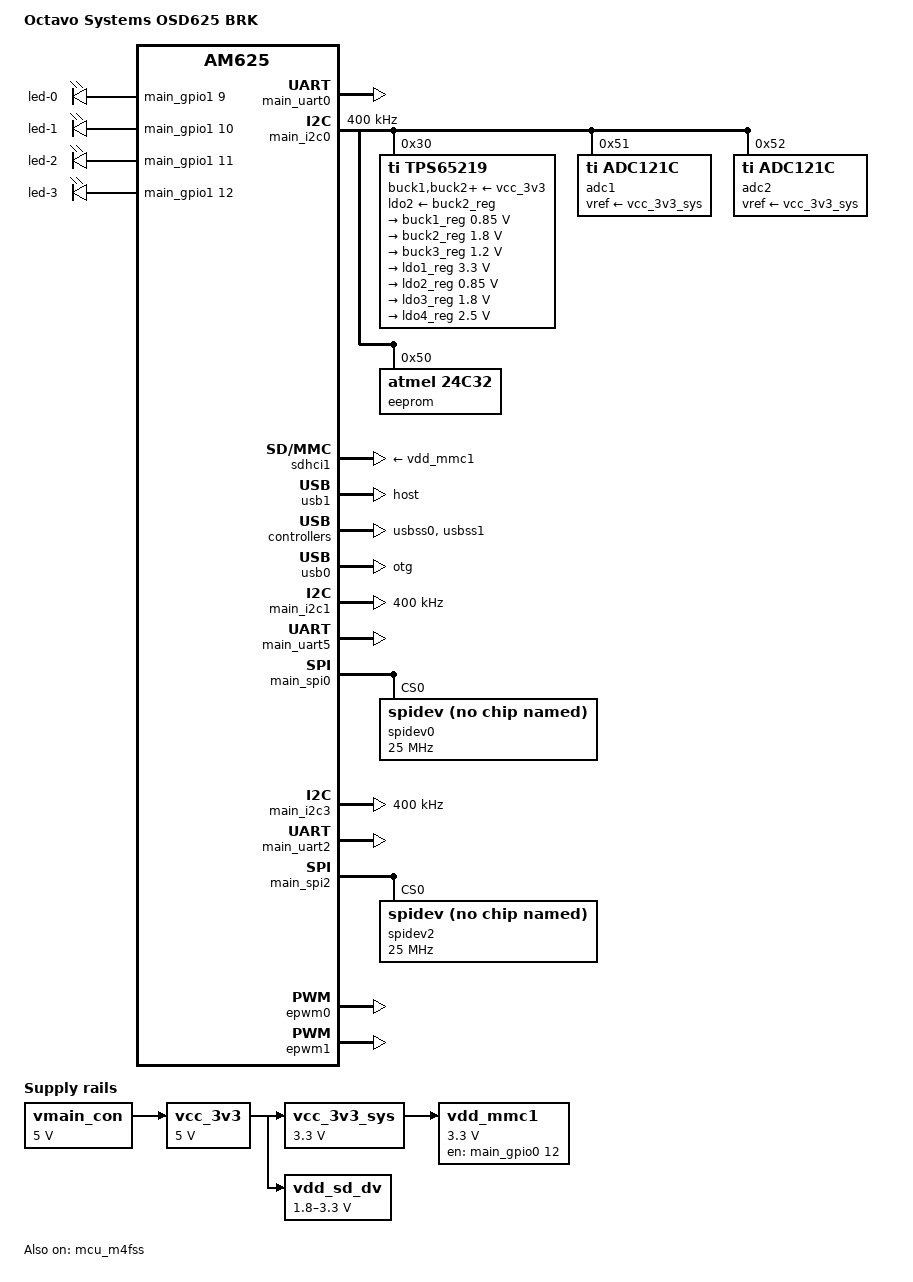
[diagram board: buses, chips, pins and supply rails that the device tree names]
 // SPDX-License-Identifier: GPL-2.0
/*
 * OSD625 BRK: https://octavosystems.com/octavo_products/osd62-pm-brk/
 *
 * Copyright (C) 2025 Octavo Systems - https://www.octavosystems.com/
 */

/dts-v1/;
#include <dt-bindings/leds/common.h>
#include <dt-bindings/gpio/gpio.h>
#include <dt-bindings/input/input.h>
#include "k3-am625.dtsi"
#include "k3-am62x-osd62x-pm-common.dtsi"

/ {
	compatible = "oct,am625-osd625-brk", "ti,am625";
	model = "Octavo Systems OSD625 BRK";

	opp-table {
		/* Add 1.4GHz OPP for OSD625 BRK board. Requires VDD_CORE to be at 0.85V */
		opp-1400000000 {
			opp-hz = /bits/ 64 <1400000000>;
			opp-supported-hw = <0x01 0x0004>;
			clock-latency-ns = <6000000>;
		};
	};

	aliases {
		serial2 = &main_uart0;
		mmc1 = &sdhci1;
		usb0 = &usb0;
		usb1 = &usb1;
		i2c0 = &main_i2c0;
		i2c1 = &main_i2c1;
		i2c3 = &main_i2c3;
		i2c4 = &wkup_i2c0;
	};

	chosen {
		stdout-path = "serial2:115200n8";
	};

	reserved-memory {
		#address-cells = <2>;
		#size-cells = <2>;
		ranges;

		ramoops@9c700000 {
			compatible = "ramoops";
			reg = <0x00 0x9c700000 0x00 0x00100000>;
			record-size = <0x8000>;
			console-size = <0x8000>;
			ftrace-size = <0x00>;
			pmsg-size = <0x8000>;
		};

		rtos_ipc_memory_region: ipc-memories@9c800000 {
			compatible = "shared-dma-pool";
			reg = <0x00 0x9c800000 0x00 0x00300000>;
			no-map;
		};

		mcu_m4fss_dma_memory_region: m4f-dma-memory@9cb00000 {
			compatible = "shared-dma-pool";
			reg = <0x00 0x9cb00000 0x00 0x100000>;
			no-map;
		};

		mcu_m4fss_memory_region: m4f-memory@9cc00000 {
			compatible = "shared-dma-pool";
			reg = <0x00 0x9cc00000 0x00 0xe00000>;
			no-map;
		};

		/* global cma region */
		linux,cma {
			compatible = "shared-dma-pool";
			reusable;
			size = <0x00 0x8000000>;
			linux,cma-default;
		};

		wkup_r5fss0_core0_dma_memory_region: r5f-dma-memory@9da00000 {
			compatible = "shared-dma-pool";
			reg = <0x00 0x9da00000 0x00 0x00100000>;
			no-map;
		};

		wkup_r5fss0_core0_memory_region: r5f-memory@9db00000 {
			compatible = "shared-dma-pool";
			reg = <0x00 0x9db00000 0x00 0x00c00000>;
			no-map;
		};

		secure_tfa_ddr: tfa@9e780000 {
			reg = <0x00 0x9e780000 0x00 0x80000>;
			alignment = <0x1000>;
			no-map;
		};

		secure_ddr: optee@9e800000 {
			reg = <0x00 0x9e800000 0x00 0x01800000>; /* for OP-TEE */
			alignment = <0x1000>;
			no-map;
		};

		hyp_mem: jailhouse@dfa00000 {
			reg = <0x0 0xdfa00000 0x0 0x20600000>; /* For jailhouse */
			alignment = <0x1000>;
			no-map;
		};
	};

	leds {
		bootph-all;
		compatible = "gpio-leds";
		pinctrl-names = "default";
		pinctrl-0 = <&usr_led_pins_default>;

		led-0 {
			bootph-all;
			gpios = <&main_gpio1 9 GPIO_ACTIVE_HIGH>;
			linux,default-trigger = "heartbeat";
			function = LED_FUNCTION_HEARTBEAT;
			default-state = "off";
		};

		led-1 {
			bootph-all;
			gpios = <&main_gpio1 10 GPIO_ACTIVE_HIGH>;
			linux,default-trigger = "mmc1";
			function = LED_FUNCTION_SD;
			default-state = "keep";
		};

		led-2 {
			bootph-all;
			gpios = <&main_gpio1 11 GPIO_ACTIVE_HIGH>;
			default-state = "off";
		};

		led-3 {
			bootph-all;
			gpios = <&main_gpio1 12 GPIO_ACTIVE_HIGH>;
			function = LED_FUNCTION_CPU;
			default-state = "keep";
		};
	};

	vmain_con: regulator-0 {
		/* Main USB-C 5V input */
		bootph-all;
		compatible = "regulator-fixed";
		regulator-name = "vmain_con";
		regulator-min-microvolt = <5000000>;
		regulator-max-microvolt = <5000000>;
		regulator-always-on;
		regulator-boot-on;
	};

	vcc_3v3: regulator-1 {
		/* Output of TLV62595 */
		bootph-all;
		compatible = "regulator-fixed";
		regulator-name = "vcc_3v3";
		regulator-min-microvolt = <5000000>;
		regulator-max-microvolt = <5000000>;
		vin-supply = <&vmain_con>;
		regulator-always-on;
		regulator-boot-on;
	};

	vcc_3v3_sys: regulator-2 {
		/* output of TPS22965 */
		bootph-all;
		compatible = "regulator-fixed";
		regulator-name = "vcc_3v3_sys";
		regulator-min-microvolt = <3300000>;
		regulator-max-microvolt = <3300000>;
		vin-supply = <&vcc_3v3>;
		regulator-always-on;
		regulator-boot-on;
	};

	vdd_mmc1: regulator-3 {
		/* SD card power switch TPS22918DBVR */
		bootph-all;
		compatible = "regulator-fixed";
		regulator-name = "vdd_mmc1";
		pinctrl-names = "default";
		pinctrl-0 = <&vdd_mmc1_pins_default>;
		regulator-min-microvolt = <3300000>;
		regulator-max-microvolt = <3300000>;
		regulator-boot-on;
		enable-active-high;
		vin-supply = <&vcc_3v3_sys>;
		gpio = <&main_gpio0 12 GPIO_ACTIVE_HIGH>;
	};

	vdd_sd_dv: regulator-4 {
		/* SD High Speed GPIO switch connects to VSEL of PMIC */
		bootph-all;
		compatible = "regulator-gpio";
		regulator-name = "sd_hs200_switch";
		pinctrl-names = "default";
		pinctrl-0 = <&vdd_sd_dv_pins_default>;
		regulator-min-microvolt = <1800000>;
		regulator-max-microvolt = <3300000>;
		regulator-boot-on;
		vin-supply = <&vcc_3v3>;
		gpios = <&main_gpio1 49 GPIO_ACTIVE_HIGH>;
		states = <1800000 0x0>,
			 <3300000 0x1>;
	};
};

&main_pmx0 {
	usr_led_pins_default: usr-led-default-pins {
		pinctrl-single,pins = <
			AM62X_IOPAD(0x19c, PIN_OUTPUT, 7) /* MCASP0_AXR1.GPIO1_9 */
			AM62X_IOPAD(0x1a0, PIN_OUTPUT, 7) /* MCASP0_AXR0.GPIO1_10 */
			AM62X_IOPAD(0x1a8, PIN_OUTPUT, 7) /* MCASP0_AFSX.GPIO1_12 */
			AM62X_IOPAD(0x1a4, PIN_OUTPUT, 7) /* MCASP0_ACLKX.GPIO1_11 */
		>;
	};

	main_uart0_pins_default: main-uart0-default-pins {
		bootph-all;
		pinctrl-single,pins = <
			AM62X_IOPAD(0x1c8, PIN_INPUT, 0) /* UART0_RXD.UART0_RXD */
			AM62X_IOPAD(0x1cc, PIN_OUTPUT, 0) /* UART0_TXD.UART0_TXD */
		>;
	};

	main_i2c0_pins_default: main-i2c0-default-pins {
		bootph-all;
		pinctrl-single,pins = <
			AM62X_IOPAD(0x1e0, PIN_INPUT_PULLUP, 0) /* I2C0_SCL.I2C0_SCL */
			AM62X_IOPAD(0x1e4, PIN_INPUT_PULLUP, 0) /* I2C0_SDA.I2C0_SDA */
			AM62X_IOPAD(0x004, PIN_INPUT, 7) /* OSPI0_LBCLKO.GPIO0_1 */
		>;
	};

	mikrobus1_i2c_pins_default: mikrobus1-i2c-default-pins {
		pinctrl-single,pins = <
			AM62X_IOPAD(0x01e8, PIN_INPUT_PULLUP, 0) /* I2C1_SCL.I2C1_SCL */
			AM62X_IOPAD(0x01ec, PIN_INPUT_PULLUP, 0) /* I2C1_SDA.I2C1_SDA */
		>;
	};

	mikrobus1_uart_pins_default: mikrobus1-uart-default-pins {
		pinctrl-single,pins = <
			AM62X_IOPAD(0x01d8, PIN_INPUT, 1) /* MCAN0_TX.UART5_RXD */
			AM62X_IOPAD(0x01dc, PIN_OUTPUT, 1) /* MCAN0_RX.UART5_TXD */
		>;
	};

	mikrobus1_spi_pins_default: mikrobus1-spi-default-pins {
		pinctrl-single,pins = <
			AM62X_IOPAD(0x01bc, PIN_INPUT, 0) /* SPI0_CLK.SPI0_CLK */
			AM62X_IOPAD(0x01b4, PIN_INPUT, 0) /* SPI0_CS0.SPI0_CS0 */
			AM62X_IOPAD(0x01c0, PIN_INPUT, 0) /* SPI0_D0.SPI0_D0 */
			AM62X_IOPAD(0x01c4, PIN_INPUT, 0) /* SPI0_D1.SPI0_D1 */
		>;
	};

	mikrobus1_pwm_pins_default: mikrobus1-pwm-default-pins {
		pinctrl-single,pins = <
		AM62X_IOPAD(0x01ac, PIN_OUTPUT, 6) /* MCASP0_AFSR.EHRPWM0_A */
		>;
	};

	mikrobus0_i2c_pins_default: mikrobus0-i2c-default-pins {
		pinctrl-single,pins = <
			AM62X_IOPAD(0x0218, PIN_INPUT_PULLUP, 1) /* MMC0_CLK.I2C3_SCL */
			AM62X_IOPAD(0x0220, PIN_INPUT_PULLUP, 1) /* MMC0_CMD.I2C3_SDA */
		>;
	};

	mikrobus0_uart_pins_default: mikrobus0-uart-default-pins {
		pinctrl-single,pins = <
			AM62X_IOPAD(0x01f8, PIN_INPUT, 1) /* MMC0_DAT7.UART2_RXD */
			AM62X_IOPAD(0x01fc, PIN_OUTPUT, 1) /* MMC0_DAT6.UART2_TXD */
		>;
	};

	mikrobus0_spi_pins_default: mikrobus0-spi-default-pins {
		pinctrl-single,pins = <
			AM62X_IOPAD(0x0214, PIN_INPUT, 6) /* MMC0_DAT0.SPI2_CLK */
			AM62X_IOPAD(0x0210, PIN_INPUT, 6) /* MMC0_DAT1.SPI2_CS0 */
			AM62X_IOPAD(0x0200, PIN_INPUT, 6) /* MMC0_DAT5.SPI2_D0 */
			AM62X_IOPAD(0x0204, PIN_INPUT, 6) /* MMC0_DAT4.SPI2_D1 */
		>;
	};

	mikrobus0_pwm_pins_default: mikrobus0-pwm-default-pins {
		pinctrl-single,pins = <
		AM62X_IOPAD(0x020c, PIN_OUTPUT, 2) /* MMC0_DAT2.EHRPWM1_A */
		>;
	};

	main_mmc1_pins_default: main-mmc1-default-pins {
		bootph-all;
		pinctrl-single,pins = <
			AM62X_IOPAD(0x23c, PIN_INPUT, 0) /* (A21/C18) MMC1_CMD */
			AM62X_IOPAD(0x234, PIN_INPUT, 0) /* (B22/A20) MMC1_CLK */
			AM62X_IOPAD(0x230, PIN_INPUT, 0) /* (A22/A19) MMC1_DAT0 */
			AM62X_IOPAD(0x22c, PIN_INPUT, 0) /* (B21/B19) MMC1_DAT1 */
			AM62X_IOPAD(0x228, PIN_INPUT, 0) /* (C21/B20) MMC1_DAT2 */
			AM62X_IOPAD(0x224, PIN_INPUT, 0) /* (D22/C19) MMC1_DAT3 */
			AM62X_IOPAD(0x240, PIN_INPUT, 0) /* (D17/C15) MMC1_SDCD */
		>;
	};

	vdd_sd_dv_pins_default: vdd-sd-dv-default-pins {
		bootph-all;
		pinctrl-single,pins = <
			AM62X_IOPAD(0x244, PIN_OUTPUT, 7) /* MMC1_SDWP.GPIO1_49 */
		>;
	};

	vdd_mmc1_pins_default: vdd-mmc1-default-pins {
		bootph-all;
		pinctrl-single,pins = <
			AM62X_IOPAD(0x030, PIN_OUTPUT, 7) /* OSPI0_CSn1.GPIO0_12 */
		>;
	};

	pmic_irq_pins_default: pmic-irq-default-pins {
		pinctrl-single,pins = <
			AM62X_IOPAD(0x01f4, PIN_INPUT_PULLUP, 0) /* (D16) EXTINTn */
		>;
	};
};

&mcu_pmx0 {
	wkup_uart0_pins_default: wkup-uart0-default-pins {
		bootph-pre-ram;
		pinctrl-single,pins = <
			AM62X_MCU_IOPAD(0x02c, PIN_INPUT, 0) /* WKUP_UART0_CTSn.WKUP_UART0_CTSn */
			AM62X_MCU_IOPAD(0x030, PIN_OUTPUT, 0) /* WKUP_UART0_RTSn.WKUP_UART0_RTSn */
			AM62X_MCU_IOPAD(0x024, PIN_INPUT, 0) /* WKUP_UART0_RXD.WKUP_UART0_RTSn */
			AM62X_MCU_IOPAD(0x028, PIN_OUTPUT, 0) /* WKUP_UART0_TXD.WKUP_UART0_TXD */
		>;
	};
};

&wkup_uart0 {
	/* WKUP UART0 is used by DM firmware */
	bootph-pre-ram;
	status = "reserved";
	pinctrl-names = "default";
	pinctrl-0 = <&wkup_uart0_pins_default>;
};

&main_uart0 {
	/* Linux console */
	bootph-all;
	status = "okay";
	pinctrl-names = "default";
	pinctrl-0 = <&main_uart0_pins_default>;
	interrupts-extended = <&gic500 GIC_SPI 178 IRQ_TYPE_LEVEL_HIGH>,
			       <&main_pmx0 0x1c8>; /* UART0_RXD PADCONFIG114 */
	interrupt-names = "irq", "wakeup";
};

&main_uart1 {
	/* Main UART1 is used by TIFS firmware */
	bootph-pre-ram;
	status = "reserved";
};

&main_gpio0 {
	bootph-all;
};

&main_gpio1 {
	bootph-all;
};

&main_i2c0 {
	bootph-all;
	status = "okay";
	pinctrl-names = "default";
	pinctrl-0 = <&main_i2c0_pins_default>;
	clock-frequency = <400000>;

	tps65219: pmic@30 {
		bootph-all;
		compatible = "ti,tps65219";
		reg = <0x30>;
		buck1-supply = <&vcc_3v3>;
		buck2-supply = <&vcc_3v3>;
		buck3-supply = <&vcc_3v3>;
		ldo1-supply = <&vcc_3v3>;
		ldo2-supply = <&buck2_reg>;
		ldo3-supply = <&vcc_3v3>;
		ldo4-supply = <&vcc_3v3>;

		pinctrl-names = "default";
		pinctrl-0 = <&pmic_irq_pins_default>;
		interrupt-parent = <&gic500>;
		interrupts = <GIC_SPI 224 IRQ_TYPE_LEVEL_HIGH>;
		interrupt-controller;
		#interrupt-cells = <1>;

		system-power-controller;
		ti,power-button;

		regulators {
			buck1_reg: buck1 {
				regulator-name = "VDD_CORE";
				regulator-min-microvolt = <850000>;
				regulator-max-microvolt = <850000>;
				regulator-boot-on;
				regulator-always-on;
			};

			buck2_reg: buck2 {
				regulator-name = "VDD_1V8";
				regulator-min-microvolt = <1800000>;
				regulator-max-microvolt = <1800000>;
				regulator-boot-on;
				regulator-always-on;
			};

			buck3_reg: buck3 {
				regulator-name = "VDD_1V2";
				regulator-min-microvolt = <1200000>;
				regulator-max-microvolt = <1200000>;
				regulator-boot-on;
				regulator-always-on;
			};

			ldo1_reg: ldo1 {
				/*
				 * Regulator is left as is unused, vdd_sd
				 * is controlled via GPIO with bypass config
				 * as per the NVM configuration
				 */
				regulator-name = "VDD_SD_3V3";
				regulator-min-microvolt = <3300000>;
				regulator-max-microvolt = <3300000>;
				regulator-allow-bypass;
				regulator-boot-on;
				regulator-always-on;
			};

			ldo2_reg: ldo2 {
				regulator-name = "VDDA_0V85";
				regulator-min-microvolt = <850000>;
				regulator-max-microvolt = <850000>;
				regulator-boot-on;
				regulator-always-on;
			};

			ldo3_reg: ldo3 {
				regulator-name = "VDDA_1V8";
				regulator-min-microvolt = <1800000>;
				regulator-max-microvolt = <1800000>;
				regulator-boot-on;
				regulator-always-on;
			};

			ldo4_reg: ldo4 {
				regulator-name = "VDD_2V5";
				regulator-min-microvolt = <2500000>;
				regulator-max-microvolt = <2500000>;
				regulator-boot-on;
				regulator-always-on;
			};
		};
	};

	adc1: adc@51 {
		compatible = "ti,adc121c";
		reg = <0x51>;
		vref-supply = <&vcc_3v3_sys>;
	};

	adc2: adc@52 {
		compatible = "ti,adc121c";
		reg = <0x52>;
		vref-supply = <&vcc_3v3_sys>;
	};

	eeprom@50 {
		compatible = "atmel,24c32";
		reg = <0x50>;
	};
};


&sdhci1 {
	/* SD/MMC */
	vmmc-supply = <&vdd_mmc1>;
	vqmmc-supply = <&vdd_sd_dv>;
	bootph-all;
	status = "okay";
	pinctrl-names = "default";
	pinctrl-0 = <&main_mmc1_pins_default>;
	disable-wp;
};

&mailbox0_cluster0 {
	mbox_m4_0: mbox-m4-0 {
		ti,mbox-rx = <0 0 0>;
		ti,mbox-tx = <1 0 0>;
	};
	mbox_r5_0: mbox-r5-0 {
		ti,mbox-rx = <2 0 0>;
		ti,mbox-tx = <3 0 0>;
	};
};

&usb1 {
	dr_mode = "host";
};

&mcu_m4fss {
	mboxes = <&mailbox0_cluster0 &mbox_m4_0>;
	memory-region = <&mcu_m4fss_dma_memory_region>,
			<&mcu_m4fss_memory_region>;
	status = "okay";
};

&wkup_r5fss0_core0 {
	mboxes = <&mailbox0_cluster0 &mbox_r5_0>;
	memory-region = <&wkup_r5fss0_core0_dma_memory_region>,
			<&wkup_r5fss0_core0_memory_region>;
};

&usbss0 {
	bootph-all;
	status = "okay";
	ti,vbus-divider;
};

&usbss1 {
	status = "okay";
	ti,vbus-divider;
};

&usb0 {
	bootph-all;
	dr_mode = "otg";
};

&dss_oldi_io_ctrl {
	bootph-all;
};

&main_i2c1 {
	pinctrl-names = "default";
	pinctrl-0 = <&mikrobus1_i2c_pins_default>;
	clock-frequency = <400000>;
	status = "okay";
};

&main_uart5 {
	pinctrl-names = "default";
	pinctrl-0 = <&mikrobus1_uart_pins_default>;
	status = "okay";
};

&main_spi0 {
	pinctrl-names = "default";
	pinctrl-0 = <&mikrobus1_spi_pins_default>;
	status = "okay";
	spidev0: spidev0@0 {
			compatible = "rohm,dh2228fv";
			reg = <0>;
			spi-max-frequency = <25000000>;
	};
};

&main_i2c3 {
	pinctrl-names = "default";
	pinctrl-0 = <&mikrobus0_i2c_pins_default>;
	clock-frequency = <400000>;
	status = "okay";
};

&main_uart2 {
	pinctrl-names = "default";
	pinctrl-0 = <&mikrobus0_uart_pins_default>;
	status = "okay";
};

&main_spi2 {
	pinctrl-names = "default";
	pinctrl-0 = <&mikrobus0_spi_pins_default>;
	status = "okay";
	spidev2: spidev2@0 {
			compatible = "rohm,dh2228fv";
			reg = <0>;
			spi-max-frequency = <25000000>;
	};
};

&epwm0 {
	pinctrl-names = "default";
	pinctrl-0 = <&mikrobus1_pwm_pins_default>;
	status = "okay";
};

&epwm1 {
	pinctrl-names = "default";
	pinctrl-0 = <&mikrobus0_pwm_pins_default>;
	status = "okay";
};

/* mcu_gpio0 and mcu_gpio_intr are reserved for mcu firmware usage */
&mcu_gpio0 {
	status = "reserved";
};

&mcu_gpio_intr {
	status = "reserved";
};


/* For jailhouse */
&main_uart1 {
	status = "disabled";
};

&sdhci0 {
	status = "disabled";
};


&main_pktdma {
	bootph-all;
};
